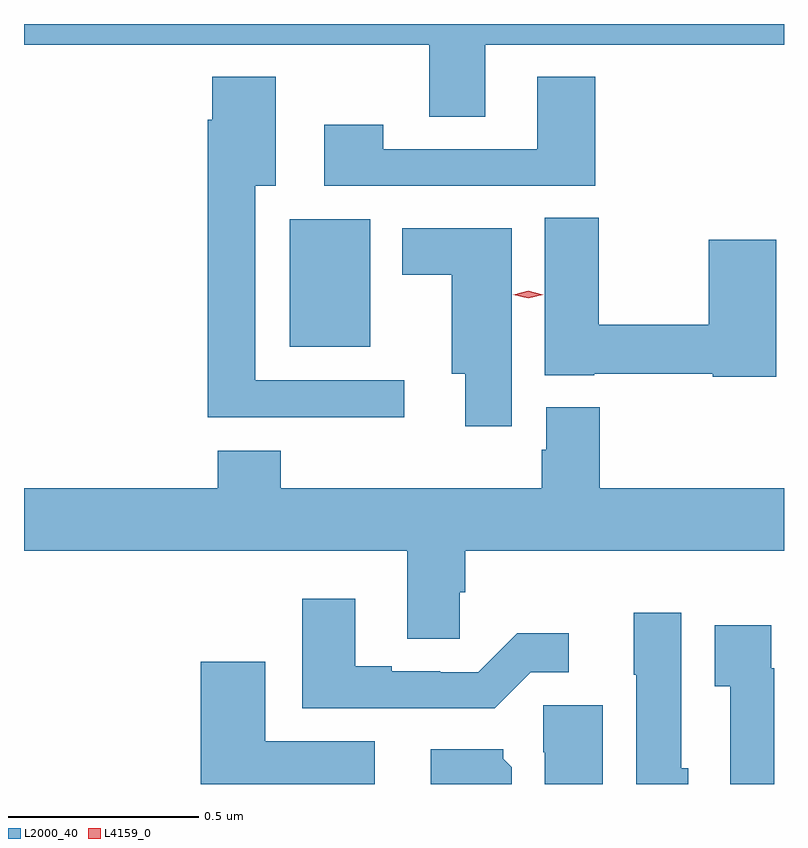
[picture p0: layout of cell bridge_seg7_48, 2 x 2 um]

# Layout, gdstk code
import gdstk
lib = gdstk.Library(unit=1e-6, precision=1e-09)
def R(c, l, rs):  # rectangles x0, y0, x1, y1
    for r in rs: c.add(gdstk.rectangle(r[:2], r[2:], *l))
def P(c, l, *ps):  # polygons
    for p in ps: c.add(gdstk.Polygon(p, *l))
L2000_40 = (2000, 40)
L4159_0 = (4159, 0)

bridge_seg7_48 = lib.new_cell('bridge_seg7_48')
R(bridge_seg7_48, L2000_40, [(970.094,1034.453,970.306,1034.788)])
P(bridge_seg7_48, L2000_40, [(970.609,1035.248),(971.395,1035.248),(971.395,1035.302),(969.395,1035.302),(969.395,1035.248),(970.462,1035.248),(970.462,1035.058),(970.609,1035.058)],
  [(970.898,1035.163),(970.745,1035.163),(970.745,1034.973),(970.341,1034.973),(970.341,1035.037),(970.185,1035.037),(970.185,1034.877),(970.898,1034.877)],
  [(970.396,1034.364),(970.003,1034.364),(970.003,1034.876),(970.057,1034.876),(970.057,1035.163),(969.89,1035.163),(969.89,1035.05),(969.878,1035.05),(969.878,1034.267),(970.396,1034.267)],
  [(971.375,1034.734),(971.197,1034.734),(971.197,1034.51),(970.908,1034.51),(970.908,1034.792),(970.766,1034.792),(970.766,1034.378),(970.896,1034.378),(970.896,1034.382),(971.208,1034.382),(971.208,1034.374),(971.375,1034.374)],
  [(970.678,1034.764),(970.391,1034.764),(970.391,1034.642),(970.52,1034.642),(970.52,1034.381),(970.556,1034.381),(970.556,1034.244),(970.678,1034.244)],
  [(970.542,1033.806),(970.556,1033.806),(970.556,1033.916),(971.395,1033.916),(971.395,1034.08),(970.91,1034.08),(970.91,1034.293),(970.769,1034.293),(970.769,1034.181),(970.757,1034.181),(970.757,1034.08),(970.07,1034.08),(970.07,1034.179),(969.905,1034.179),(969.905,1034.08),(969.395,1034.08),(969.395,1033.916),(970.403,1033.916),(970.403,1033.684),(970.542,1033.684)],
  [(970.728,1033.596),(970.828,1033.596),(970.828,1033.699),(970.693,1033.699),(970.59,1033.596),(970.49,1033.596),(970.49,1033.599),(970.363,1033.599),(970.363,1033.612),(970.267,1033.612),(970.267,1033.789),(970.127,1033.789),(970.127,1033.502),(970.634,1033.502)],
  [(971.143,1033.344),(971.125,1033.344),(971.125,1033.753),(971,1033.753),(971,1033.59),(971.006,1033.59),(971.006,1033.302),(971.143,1033.302)],
  [(971.369,1033.607),(971.362,1033.607),(971.362,1033.72),(971.213,1033.72),(971.213,1033.559),(971.253,1033.559),(971.253,1033.302),(971.369,1033.302)],
  [(970.318,1033.414),(970.03,1033.414),(970.03,1033.624),(969.86,1033.624),(969.86,1033.302),(970.318,1033.302)],
  [(970.918,1033.509),(970.762,1033.509),(970.762,1033.386),(970.766,1033.386),(970.766,1033.302),(970.918,1033.302)],
  [(970.678,1033.346),(970.656,1033.368),(970.656,1033.393),(970.466,1033.393),(970.466,1033.302),(970.678,1033.302)])
P(bridge_seg7_48, L4159_0, [(970.722,1034.58),(970.682,1034.59),(970.682,1034.59),(970.682,1034.59),(970.722,1034.6),(970.762,1034.59),(970.762,1034.59),(970.762,1034.59)])

lib.write_gds('bridge_seg7_48.gds')
